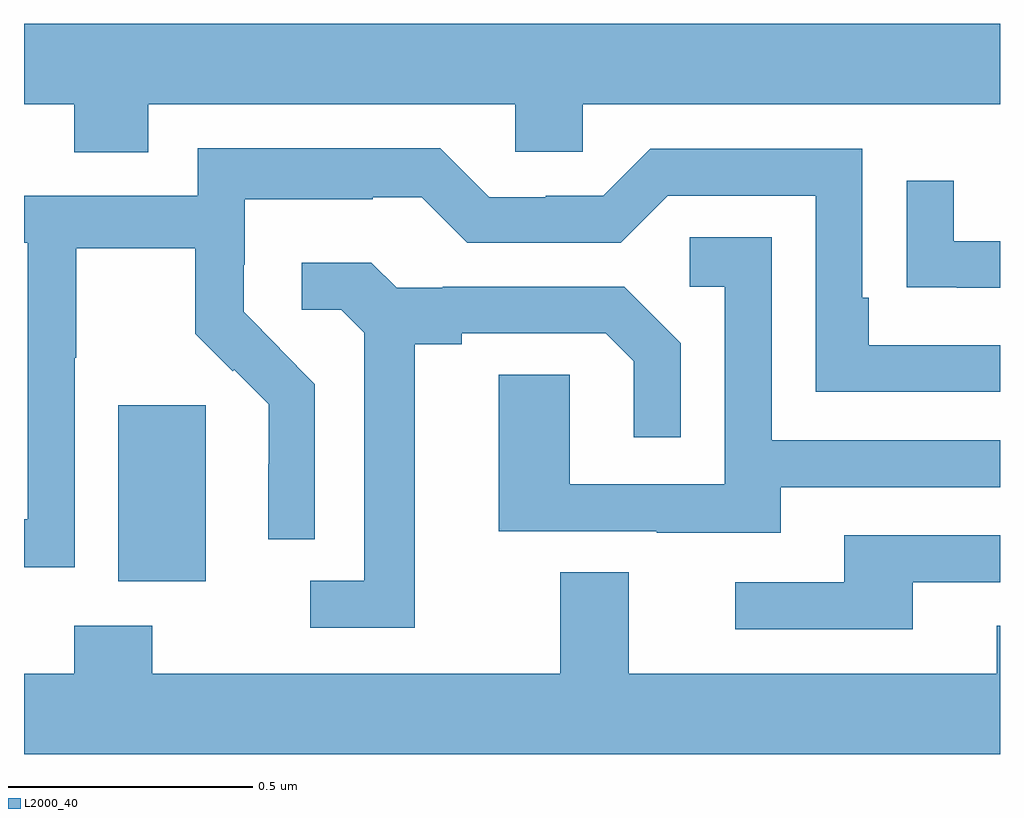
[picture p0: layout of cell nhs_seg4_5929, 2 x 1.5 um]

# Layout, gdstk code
import gdstk
lib = gdstk.Library(unit=1e-6, precision=1e-09)
def R(c, l, rs):  # rectangles x0, y0, x1, y1
    for r in rs: c.add(gdstk.rectangle(r[:2], r[2:], *l))
def P(c, l, *ps):  # polygons
    for p in ps: c.add(gdstk.Polygon(p, *l))
L2000_40 = (2000, 40)

nhs_seg4_5929 = lib.new_cell('nhs_seg4_5929')
R(nhs_seg4_5929, L2000_40, [(184.193,766.538,184.372,766.899)])
P(nhs_seg4_5929, L2000_40, [(184.255,767.516),(185.007,767.516),(185.007,767.418),(185.145,767.418),(185.145,767.516),(186,767.516),(186,767.68),(184,767.68),(184,767.516),(184.103,767.516),(184.103,767.417),(184.255,767.417)],
  [(184.104,766.996),(184.107,766.996),(184.107,767.22),(184.351,767.22),(184.351,767.045),(184.428,766.968),(184.431,766.971),(184.502,766.901),(184.502,766.778),(184.5,766.778),(184.5,766.624),(184.596,766.624),(184.596,766.942),(184.523,767.015),(184.524,767.016),(184.45,767.09),(184.45,767.187),(184.452,767.187),(184.452,767.321),(184.715,767.321),(184.715,767.325),(184.815,767.325),(184.908,767.232),(185.223,767.232),(185.319,767.328),(185.622,767.328),(185.622,766.926),(186,766.926),(186,767.022),(185.731,767.022),(185.731,767.119),(185.718,767.119),(185.718,767.424),(185.283,767.424),(185.187,767.328),(185.069,767.328),(185.069,767.325),(184.953,767.325),(184.853,767.425),(184.356,767.425),(184.356,767.328),(184,767.328),(184,767.232),(184.008,767.232),(184.008,766.665),(184,766.665),(184,766.567),(184.104,766.567)],
  [(186,767.235),(185.905,767.235),(185.905,767.359),(185.809,767.359),(185.809,767.14),(185.911,767.14),(185.911,767.139),(186,767.139)],
  [(185.551,766.731),(186,766.731),(186,766.827),(185.532,766.827),(185.532,767.243),(185.364,767.243),(185.364,767.142),(185.436,767.142),(185.436,766.737),(185.118,766.737),(185.118,766.961),(184.973,766.961),(184.973,766.641),(185.297,766.641),(185.297,766.637),(185.551,766.637)],
  [(184.801,767.024),(184.897,767.024),(184.897,767.046),(185.192,767.046),(185.249,766.989),(185.249,766.833),(185.346,766.833),(185.346,767.026),(185.23,767.142),(184.858,767.142),(184.858,767.139),(184.764,767.139),(184.712,767.191),(184.569,767.191),(184.569,767.094),(184.65,767.094),(184.697,767.047),(184.697,766.539),(184.587,766.539),(184.587,766.443),(184.801,766.443)],
  [(185.821,766.536),(186,766.536),(186,766.632),(185.681,766.632),(185.681,766.536),(185.457,766.536),(185.457,766.44),(185.821,766.44)],
  [(186,766.447),(185.993,766.447),(185.993,766.348),(185.239,766.348),(185.239,766.556),(185.099,766.556),(185.099,766.348),(184.263,766.348),(184.263,766.447),(184.103,766.447),(184.103,766.348),(184,766.348),(184,766.184),(186,766.184)])

lib.write_gds('nhs_seg4_5929.gds')
